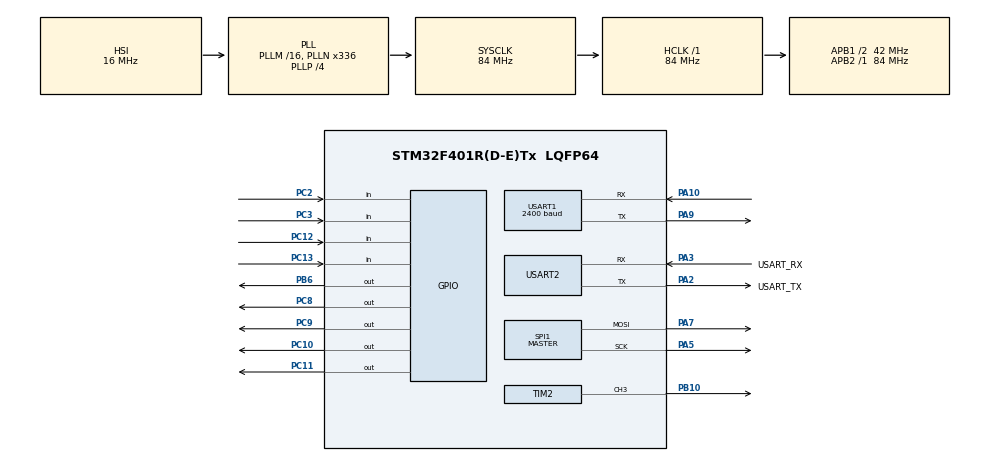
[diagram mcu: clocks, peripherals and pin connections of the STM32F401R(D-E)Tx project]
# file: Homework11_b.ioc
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Dma.Request0=SPI1_TX
Dma.SPI1_TX.0.Direction=DMA_MEMORY_TO_PERIPH
Dma.SPI1_TX.0.FIFOMode=DMA_FIFOMODE_DISABLE
Dma.SPI1_TX.0.Instance=DMA2_Stream3
Dma.SPI1_TX.0.MemDataAlignment=DMA_MDATAALIGN_BYTE
Dma.SPI1_TX.0.MemInc=DMA_MINC_ENABLE
Dma.SPI1_TX.0.Mode=DMA_NORMAL
Dma.SPI1_TX.0.PeriphDataAlignment=DMA_PDATAALIGN_BYTE
Dma.SPI1_TX.0.PeriphInc=DMA_PINC_DISABLE
Dma.SPI1_TX.0.Priority=DMA_PRIORITY_LOW
Mcu.Family=STM32F4
Mcu.Name=STM32F401R(D-E)Tx
Mcu.Package=LQFP64
NVIC.DMA2_Stream3_IRQn=true\:0\:0\:false\:false\:true\:false\:true\:true
NVIC.PriorityGroup=NVIC_PRIORITYGROUP_4
NVIC.SPI1_IRQn=true\:0\:0\:false\:false\:true\:true\:true\:true
NVIC.TIM3_IRQn=true\:0\:0\:false\:false\:true\:true\:true\:true
NVIC.TIM4_IRQn=true\:0\:0\:false\:false\:true\:true\:true\:true
NVIC.TIM5_IRQn=true\:0\:0\:false\:false\:true\:true\:true\:true
NVIC.USART1_IRQn=true\:0\:0\:false\:false\:true\:true\:true\:true
PA10.Mode=Asynchronous
PA10.Signal=USART1_RX
PA13.GPIO_Label=TMS
PA13.Mode=Trace_Asynchronous_SW
PA13.Signal=SYS_JTMS-SWDIO
PA14.GPIO_Label=TCK
PA14.Mode=Trace_Asynchronous_SW
PA14.Signal=SYS_JTCK-SWCLK
PA2.GPIO_Label=USART_TX
PA2.GPIO_Mode=GPIO_MODE_AF_PP
PA2.GPIO_PuPd=GPIO_NOPULL
PA2.GPIO_Speed=GPIO_SPEED_FREQ_LOW
PA2.Mode=Asynchronous
PA2.Signal=USART2_TX
PA3.GPIO_Label=USART_RX
PA3.GPIO_Mode=GPIO_MODE_AF_PP
PA3.GPIO_PuPd=GPIO_NOPULL
PA3.GPIO_Speed=GPIO_SPEED_FREQ_LOW
PA3.Mode=Asynchronous
PA3.Signal=USART2_RX
PA4.Signal=SPI1_NSS
PA5.Mode=TX_Only_Simplex_Unidirect_Master
PA5.Signal=SPI1_SCK
PA6.Signal=SPI1_MISO
PA7.Mode=TX_Only_Simplex_Unidirect_Master
PA7.Signal=SPI1_MOSI
PA9.Mode=Asynchronous
PA9.Signal=USART1_TX
PB10.Signal=S_TIM2_CH3
PB3.GPIO_Label=SWO
PB3.Mode=Trace_Asynchronous_SW
PB3.Signal=SYS_JTDO-SWO
PB6.Signal=GPIO_Output
PC10.Signal=GPIO_Output
PC11.Signal=GPIO_Output
PC12.Signal=GPIO_Input
PC13-ANTI_TAMP.Signal=GPIO_Input
PC14-OSC32_IN.Mode=LSE-External-Oscillator
PC14-OSC32_IN.Signal=RCC_OSC32_IN
PC15-OSC32_OUT.Mode=LSE-External-Oscillator
PC15-OSC32_OUT.Signal=RCC_OSC32_OUT
PC2.Signal=GPIO_Input
PC3.Signal=GPIO_Input
PC8.Signal=GPIO_Output
PC9.Signal=GPIO_Output
PH0\ -\ OSC_IN.Mode=HSE-External-Clock-Source
PH0\ -\ OSC_IN.Signal=RCC_OSC_IN
PH1\ -\ OSC_OUT.Mode=HSE-External-Clock-Source
PH1\ -\ OSC_OUT.Signal=RCC_OSC_OUT
ProjectManager.HeapSize=0x200
ProjectManager.StackSize=0x400
ProjectManager.TargetToolchain=STM32CubeIDE
RCC.48MHZClocksFreq_Value=48000000
RCC.AHBFreq_Value=84000000
RCC.APB1CLKDivider=RCC_HCLK_DIV2
RCC.APB1Freq_Value=42000000
RCC.APB1TimFreq_Value=84000000
RCC.APB2Freq_Value=84000000
RCC.APB2TimFreq_Value=84000000
RCC.CortexFreq_Value=84000000
RCC.HCLKFreq_Value=84000000
RCC.HSE_VALUE=8000000
RCC.HSI_VALUE=16000000
RCC.PLLN=336
RCC.PLLP=RCC_PLLP_DIV4
RCC.PLLQ=7
RCC.SYSCLKFreq_VALUE=84000000
RCC.SYSCLKSource=RCC_SYSCLKSOURCE_PLLCLK
RCC.VCOOutputFreq_Value=336000000
SH.S_TIM2_CH3.0=TIM2_CH3,PWM Generation3 CH3
SPI1.BaudRatePrescaler=SPI_BAUDRATEPRESCALER_4
SPI1.Direction=SPI_DIRECTION_2LINES
SPI1.Mode=SPI_MODE_MASTER
SPI1.VirtualType=VM_MASTER
TIM2.Channel-PWM\ Generation3\ CH3=TIM_CHANNEL_3
TIM2.Period=25
TIM2.Prescaler=83
TIM2.Pulse-PWM\ Generation3\ CH3=12
TIM3.Period=415
TIM3.Prescaler=83
TIM3.TIM_MasterOutputTrigger=TIM_TRGO_UPDATE
TIM4.Period=99
TIM4.Prescaler=839
TIM5.Period=399
TIM5.Prescaler=839
TIM5.TIM_MasterOutputTrigger=TIM_TRGO_UPDATE
USART1.BaudRate=2400
USART1.VirtualMode=VM_ASYNC
USART2.VirtualMode=VM_ASYNC
VP_TIM3_VS_ClockSourceINT.Mode=Internal
VP_TIM4_VS_ClockSourceINT.Mode=Internal
VP_TIM5_VS_ClockSourceINT.Mode=Internal
board=NUCLEO-F401RE

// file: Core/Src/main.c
/* USER CODE BEGIN Header */
/**
  ******************************************************************************
  * @file           : main.c
  * @brief          : Main program body
  ******************************************************************************
  * @attention
  *
  * Copyright (c) 2025 STMicroelectronics.
  * All rights reserved.
  *
  * This software is licensed under terms that can be found in the LICENSE file
  * in the root directory of this software component.
  * If no LICENSE file comes with this software, it is provided AS-IS.
  *
  ******************************************************************************
  */
/* USER CODE END Header */
#include "main.h"

/* USER CODE BEGIN PD */
#define TIM_PWM (&htim2)
#define TIM_BAUD (&htim3)
#define TIM_KEYBOARD (&htim4)
#define TIM_MATRIX (&htim5)

#define DEBOUNCE_TIME 2		// number of cycles a key has to be pressed for
#define ROW_COUNT 4
#define COLUMN_COUNT 4

#define RCLK_PIN GPIOB, GPIO_PIN_6
/* USER CODE END PD */

SPI_HandleTypeDef hspi1;
DMA_HandleTypeDef hdma_spi1_tx;

TIM_HandleTypeDef htim2;
TIM_HandleTypeDef htim3;
TIM_HandleTypeDef htim4;
TIM_HandleTypeDef htim5;

UART_HandleTypeDef huart1;
UART_HandleTypeDef huart2;

/* USER CODE BEGIN PV */
int bit_n;
uint8_t byte;
uint8_t buffer = 0;
uint8_t command = 0;

// KEYBOARD VARIABLES
uint16_t column_pins[] = {
		GPIO_PIN_11, // C0
		GPIO_PIN_10, // C1
		GPIO_PIN_9,  // C2
		GPIO_PIN_8,  // C3
};
uint16_t row_pins[] = {
		GPIO_PIN_3,  // R0
		GPIO_PIN_2,  // R1
		GPIO_PIN_13, // R2
		GPIO_PIN_12, // R3
};
uint8_t symbols[4][4] = {
		{'F','E','D','C'},
		{'B','A','9','8'},
		{'7','6','5','4'},
		{'3','2','1','0'},
};

struct {
	int keypress;		// number of cycles the key was pressed for
	uint8_t printed;	// if the letter was already been sent or not
} buttons[4][4] = {0};

int col_keyboard = 0;

// LED MATRIX VARIABLES
int col_matrix = 0;
uint8_t data[2];

uint8_t display_F[] = { 127, 72, 72,  72,  64  };
uint8_t display_E[] = { 127, 73, 73,  73,  65  };
uint8_t display_D[] = { 127, 65, 65,  34,  28  };
uint8_t display_C[] = { 62,  65, 65,  65,  65  };
uint8_t display_B[] = { 127, 73, 73,  73,  119 };
uint8_t display_A[] = { 63,  72, 72,  72,  63  };
uint8_t display_9[] = { 48,  73, 73,  73,  126 };
uint8_t display_8[] = { 54,  73, 73,  73,  118 };
uint8_t display_7[] = { 64,  67, 76,  80,  96  };
uint8_t display_6[] = { 62,  73, 73,  73,  70  };
uint8_t display_5[] = { 121, 73, 73,  73,  70  };
uint8_t display_4[] = { 12,  20, 36,  127, 4   };
uint8_t display_3[] = { 34,  65, 73,  73,  54  };
uint8_t display_2[] = { 33,  67, 69,  73,  49  };
uint8_t display_1[] = { 17,  33, 127, 1,   1   };
uint8_t display_0[] = { 62,  65, 65,  65,  62  };
uint8_t display_OFF[] = { 0, 0, 0, 0, 0 };

uint8_t *alphabet[] = {
  [0] = display_OFF,
  ['F'] = display_F,
  ['E'] = display_E,
  ['D'] = display_D,
  ['C'] = display_C,
  ['B'] = display_B,
  ['A'] = display_A,
  ['9'] = display_9,
  ['8'] = display_8,
  ['7'] = display_7,
  ['6'] = display_6,
  ['5'] = display_5,
  ['4'] = display_4,
  ['3'] = display_3,
  ['2'] = display_2,
  ['1'] = display_1,
  ['0'] = display_0,
};

/* USER CODE END PV */

void SystemClock_Config(void);
static void MX_GPIO_Init(void);
static void MX_DMA_Init(void);
static void MX_USART2_UART_Init(void);
static void MX_TIM2_Init(void);
static void MX_TIM3_Init(void);
static void MX_TIM4_Init(void);
static void MX_SPI1_Init(void);
static void MX_TIM5_Init(void);
static void MX_USART1_UART_Init(void);

/* USER CODE BEGIN 0 */
void HAL_UART_RxCpltCallback(UART_HandleTypeDef *huart) {
	if (huart == &huart1) {
		// start a new receiving
		HAL_UART_Receive_IT(&huart1, &buffer, sizeof(buffer));
		// filter data
		if(!((buffer <= 'F' && buffer >= 'A') || (buffer <= '9' && buffer >= '0'))) return;

		// save command and debug
		command = buffer;
		HAL_UART_Transmit(&huart2, &buffer, sizeof(buffer), 100);
	}
}

void HAL_SPI_TxCpltCallback(SPI_HandleTypeDef *hspi) {
    if (hspi == &hspi1) {
    	// send rising edge to latch data
    	HAL_GPIO_TogglePin(RCLK_PIN);
    	HAL_GPIO_TogglePin(RCLK_PIN);
    }
}

void UART_IR_sendByte(uint8_t byteToSend){
	byte = byteToSend;
	// start baud rate timer
	HAL_TIM_Base_Start_IT(TIM_BAUD);
	// send start bit
	HAL_TIM_PWM_Start(TIM_PWM, TIM_CHANNEL_3);
	bit_n = 0;
}

void HAL_TIM_PeriodElapsedCallback(TIM_HandleTypeDef *htim){
	// when the baud rate timer elapses
	if(htim == TIM_BAUD){
		if(bit_n > 8){
			// if I sent all the bits, stop the baud rate timer
			HAL_TIM_Base_Stop_IT(TIM_BAUD);
			return;
		}

		if(bit_n == 8){
			// if it is the last bit, send a stop bit
			HAL_TIM_PWM_Stop(TIM_PWM, TIM_CHANNEL_3);
		} else if((byte >> bit_n) & 0x1){
			// if the current bit is a 1, turn off the LED
			HAL_TIM_PWM_Stop(TIM_PWM, TIM_CHANNEL_3);
		} else {
			// if the current bit is a 0, turn on the LED
			HAL_TIM_PWM_Start(TIM_PWM, TIM_CHANNEL_3);
		}
		bit_n++;
	}

	if(htim == TIM_KEYBOARD){
		// read rows
		for(int row=0; row<ROW_COUNT; row++) {
			if(HAL_GPIO_ReadPin(GPIOC, row_pins[row]) == GPIO_PIN_RESET) {
				buttons[row][col_keyboard].keypress++; 	// button pressed for one cycle
			} else {
				buttons[row][col_keyboard].keypress = 0; // reset counter
			}
		}
		// disable current column
		HAL_GPIO_WritePin(GPIOC, column_pins[col_keyboard], GPIO_PIN_RESET);
		col_keyboard = (col_keyboard+1) % COLUMN_COUNT;
		// enable next column so that it has time to reach the correct level
		// and successfully read the buttons in the next timer callback
		HAL_GPIO_WritePin(GPIOC, column_pins[col_keyboard], GPIO_PIN_SET);
	}

	if(htim == TIM_MATRIX){
		// send {row, column} data
		data[0] = alphabet[command][col_matrix];
		data[1] = 1 << (4 - col_matrix);
		HAL_SPI_Transmit_DMA(&hspi1, data, sizeof(data));
		col_matrix = (col_matrix+1) % 5;
	}

}

/* USER CODE END 0 */

int main(void)
{

  /* MCU Configuration--------------------------------------------------------*/

  /* Reset of all peripherals, Initializes the Flash interface and the Systick. */
  HAL_Init();

  /* Configure the system clock */
  SystemClock_Config();

  /* Initialize all configured peripherals */
  MX_GPIO_Init();
  MX_DMA_Init();
  MX_USART2_UART_Init();
  MX_TIM2_Init();
  MX_TIM3_Init();
  MX_TIM4_Init();
  MX_SPI1_Init();
  MX_TIM5_Init();
  MX_USART1_UART_Init();
  /* USER CODE BEGIN 2 */
  // start timers
  HAL_TIM_Base_Start_IT(TIM_KEYBOARD);
  HAL_TIM_Base_Start_IT(TIM_MATRIX);
  // receive from IR UART
  HAL_UART_Receive_IT(&huart1, &buffer, sizeof(buffer));

  HAL_GPIO_WritePin(RCLK_PIN, GPIO_PIN_RESET);
  /* USER CODE END 2 */

  /* Infinite loop */
  while (1)
  {

    /* USER CODE BEGIN 3 */
	  	// for each key, check...
		for(int i=0; i<ROW_COUNT; i++){
			for(int j=0; j<COLUMN_COUNT; j++){
				// if was pressed long enough
				if(buttons[i][j].keypress > DEBOUNCE_TIME){
					// if it was not printed before
					if(!buttons[i][j].printed){
						buttons[i][j].printed = 1;
						// send data
						UART_IR_sendByte(symbols[i][j]);
					}
				} else {
					// if was released -> reset flag
					buttons[i][j].printed = 0;
				}
			}
		}

  }
  /* USER CODE END 3 */
}

void SystemClock_Config(void)
{
  RCC_OscInitTypeDef RCC_OscInitStruct = {0};
  RCC_ClkInitTypeDef RCC_ClkInitStruct = {0};

  /** Configure the main internal regulator output voltage
  */
  __HAL_RCC_PWR_CLK_ENABLE();
  __HAL_PWR_VOLTAGESCALING_CONFIG(PWR_REGULATOR_VOLTAGE_SCALE2);

  /** Initializes the RCC Oscillators according to the specified parameters
  * in the RCC_OscInitTypeDef structure.
  */
  RCC_OscInitStruct.OscillatorType = RCC_OSCILLATORTYPE_HSI;
  RCC_OscInitStruct.HSIState = RCC_HSI_ON;
  RCC_OscInitStruct.HSICalibrationValue = RCC_HSICALIBRATION_DEFAULT;
  RCC_OscInitStruct.PLL.PLLState = RCC_PLL_ON;
  RCC_OscInitStruct.PLL.PLLSource = RCC_PLLSOURCE_HSI;
  RCC_OscInitStruct.PLL.PLLM = 16;
  RCC_OscInitStruct.PLL.PLLN = 336;
  RCC_OscInitStruct.PLL.PLLP = RCC_PLLP_DIV4;
  RCC_OscInitStruct.PLL.PLLQ = 7;
  if (HAL_RCC_OscConfig(&RCC_OscInitStruct) != HAL_OK)
  {
    Error_Handler();
  }

  /** Initializes the CPU, AHB and APB buses clocks
  */
  RCC_ClkInitStruct.ClockType = RCC_CLOCKTYPE_HCLK|RCC_CLOCKTYPE_SYSCLK
                              |RCC_CLOCKTYPE_PCLK1|RCC_CLOCKTYPE_PCLK2;
  RCC_ClkInitStruct.SYSCLKSource = RCC_SYSCLKSOURCE_PLLCLK;
  RCC_ClkInitStruct.AHBCLKDivider = RCC_SYSCLK_DIV1;
  RCC_ClkInitStruct.APB1CLKDivider = RCC_HCLK_DIV2;
  RCC_ClkInitStruct.APB2CLKDivider = RCC_HCLK_DIV1;

  if (HAL_RCC_ClockConfig(&RCC_ClkInitStruct, FLASH_LATENCY_2) != HAL_OK)
  {
    Error_Handler();
  }
}

static void MX_SPI1_Init(void)
{

  /* SPI1 parameter configuration*/
  hspi1.Instance = SPI1;
  hspi1.Init.Mode = SPI_MODE_MASTER;
  hspi1.Init.Direction = SPI_DIRECTION_2LINES;
  hspi1.Init.DataSize = SPI_DATASIZE_8BIT;
  hspi1.Init.CLKPolarity = SPI_POLARITY_LOW;
  hspi1.Init.CLKPhase = SPI_PHASE_1EDGE;
  hspi1.Init.NSS = SPI_NSS_SOFT;
  hspi1.Init.BaudRatePrescaler = SPI_BAUDRATEPRESCALER_4;
  hspi1.Init.FirstBit = SPI_FIRSTBIT_MSB;
  hspi1.Init.TIMode = SPI_TIMODE_DISABLE;
  hspi1.Init.CRCCalculation = SPI_CRCCALCULATION_DISABLE;
  hspi1.Init.CRCPolynomial = 10;
  if (HAL_SPI_Init(&hspi1) != HAL_OK)
  {
    Error_Handler();
  }

}

static void MX_TIM2_Init(void)
{

  TIM_MasterConfigTypeDef sMasterConfig = {0};
  TIM_OC_InitTypeDef sConfigOC = {0};

  htim2.Instance = TIM2;
  htim2.Init.Prescaler = 83;
  htim2.Init.CounterMode = TIM_COUNTERMODE_UP;
  htim2.Init.Period = 25;
  htim2.Init.ClockDivision = TIM_CLOCKDIVISION_DIV1;
  htim2.Init.AutoReloadPreload = TIM_AUTORELOAD_PRELOAD_DISABLE;
  if (HAL_TIM_PWM_Init(&htim2) != HAL_OK)
  {
    Error_Handler();
  }
  sMasterConfig.MasterOutputTrigger = TIM_TRGO_RESET;
  sMasterConfig.MasterSlaveMode = TIM_MASTERSLAVEMODE_DISABLE;
  if (HAL_TIMEx_MasterConfigSynchronization(&htim2, &sMasterConfig) != HAL_OK)
  {
    Error_Handler();
  }
  sConfigOC.OCMode = TIM_OCMODE_PWM1;
  sConfigOC.Pulse = 12;
  sConfigOC.OCPolarity = TIM_OCPOLARITY_HIGH;
  sConfigOC.OCFastMode = TIM_OCFAST_DISABLE;
  if (HAL_TIM_PWM_ConfigChannel(&htim2, &sConfigOC, TIM_CHANNEL_3) != HAL_OK)
  {
    Error_Handler();
  }
  HAL_TIM_MspPostInit(&htim2);

}

static void MX_TIM3_Init(void)
{

  TIM_ClockConfigTypeDef sClockSourceConfig = {0};
  TIM_MasterConfigTypeDef sMasterConfig = {0};

  htim3.Instance = TIM3;
  htim3.Init.Prescaler = 83;
  htim3.Init.CounterMode = TIM_COUNTERMODE_UP;
  htim3.Init.Period = 415;
  htim3.Init.ClockDivision = TIM_CLOCKDIVISION_DIV1;
  htim3.Init.AutoReloadPreload = TIM_AUTORELOAD_PRELOAD_DISABLE;
  if (HAL_TIM_Base_Init(&htim3) != HAL_OK)
  {
    Error_Handler();
  }
  sClockSourceConfig.ClockSource = TIM_CLOCKSOURCE_INTERNAL;
  if (HAL_TIM_ConfigClockSource(&htim3, &sClockSourceConfig) != HAL_OK)
  {
    Error_Handler();
  }
  sMasterConfig.MasterOutputTrigger = TIM_TRGO_UPDATE;
  sMasterConfig.MasterSlaveMode = TIM_MASTERSLAVEMODE_DISABLE;
  if (HAL_TIMEx_MasterConfigSynchronization(&htim3, &sMasterConfig) != HAL_OK)
  {
    Error_Handler();
  }

}

static void MX_TIM4_Init(void)
{

  TIM_ClockConfigTypeDef sClockSourceConfig = {0};
  TIM_MasterConfigTypeDef sMasterConfig = {0};

  htim4.Instance = TIM4;
  htim4.Init.Prescaler = 839;
  htim4.Init.CounterMode = TIM_COUNTERMODE_UP;
  htim4.Init.Period = 99;
  htim4.Init.ClockDivision = TIM_CLOCKDIVISION_DIV1;
  htim4.Init.AutoReloadPreload = TIM_AUTORELOAD_PRELOAD_DISABLE;
  if (HAL_TIM_Base_Init(&htim4) != HAL_OK)
  {
    Error_Handler();
  }
  sClockSourceConfig.ClockSource = TIM_CLOCKSOURCE_INTERNAL;
  if (HAL_TIM_ConfigClockSource(&htim4, &sClockSourceConfig) != HAL_OK)
  {
    Error_Handler();
  }
  sMasterConfig.MasterOutputTrigger = TIM_TRGO_RESET;
  sMasterConfig.MasterSlaveMode = TIM_MASTERSLAVEMODE_DISABLE;
  if (HAL_TIMEx_MasterConfigSynchronization(&htim4, &sMasterConfig) != HAL_OK)
  {
    Error_Handler();
  }

}

static void MX_TIM5_Init(void)
{

  TIM_ClockConfigTypeDef sClockSourceConfig = {0};
  TIM_MasterConfigTypeDef sMasterConfig = {0};

  htim5.Instance = TIM5;
  htim5.Init.Prescaler = 839;
  htim5.Init.CounterMode = TIM_COUNTERMODE_UP;
  htim5.Init.Period = 399;
  htim5.Init.ClockDivision = TIM_CLOCKDIVISION_DIV1;
  htim5.Init.AutoReloadPreload = TIM_AUTORELOAD_PRELOAD_DISABLE;
  if (HAL_TIM_Base_Init(&htim5) != HAL_OK)
  {
    Error_Handler();
  }
  sClockSourceConfig.ClockSource = TIM_CLOCKSOURCE_INTERNAL;
  if (HAL_TIM_ConfigClockSource(&htim5, &sClockSourceConfig) != HAL_OK)
  {
    Error_Handler();
  }
  sMasterConfig.MasterOutputTrigger = TIM_TRGO_UPDATE;
  sMasterConfig.MasterSlaveMode = TIM_MASTERSLAVEMODE_DISABLE;
  if (HAL_TIMEx_MasterConfigSynchronization(&htim5, &sMasterConfig) != HAL_OK)
  {
    Error_Handler();
  }

}

static void MX_USART1_UART_Init(void)
{

  huart1.Instance = USART1;
  huart1.Init.BaudRate = 2400;
  huart1.Init.WordLength = UART_WORDLENGTH_8B;
  huart1.Init.StopBits = UART_STOPBITS_1;
  huart1.Init.Parity = UART_PARITY_NONE;
  huart1.Init.Mode = UART_MODE_TX_RX;
  huart1.Init.HwFlowCtl = UART_HWCONTROL_NONE;
  huart1.Init.OverSampling = UART_OVERSAMPLING_16;
  if (HAL_UART_Init(&huart1) != HAL_OK)
  {
    Error_Handler();
  }

}

static void MX_USART2_UART_Init(void)
{

  huart2.Instance = USART2;
  huart2.Init.BaudRate = 115200;
  huart2.Init.WordLength = UART_WORDLENGTH_8B;
  huart2.Init.StopBits = UART_STOPBITS_1;
  huart2.Init.Parity = UART_PARITY_NONE;
  huart2.Init.Mode = UART_MODE_TX_RX;
  huart2.Init.HwFlowCtl = UART_HWCONTROL_NONE;
  huart2.Init.OverSampling = UART_OVERSAMPLING_16;
  if (HAL_UART_Init(&huart2) != HAL_OK)
  {
    Error_Handler();
  }

}

static void MX_DMA_Init(void)
{

  /* DMA controller clock enable */
  __HAL_RCC_DMA2_CLK_ENABLE();

  /* DMA interrupt init */
  /* DMA2_Stream3_IRQn interrupt configuration */
  HAL_NVIC_SetPriority(DMA2_Stream3_IRQn, 0, 0);
  HAL_NVIC_EnableIRQ(DMA2_Stream3_IRQn);

}

static void MX_GPIO_Init(void)
{
  GPIO_InitTypeDef GPIO_InitStruct = {0};

  /* GPIO Ports Clock Enable */
  __HAL_RCC_GPIOC_CLK_ENABLE();
  __HAL_RCC_GPIOH_CLK_ENABLE();
  __HAL_RCC_GPIOA_CLK_ENABLE();
  __HAL_RCC_GPIOB_CLK_ENABLE();

  /*Configure GPIO pin Output Level */
  HAL_GPIO_WritePin(GPIOC, GPIO_PIN_8|GPIO_PIN_9|GPIO_PIN_10|GPIO_PIN_11, GPIO_PIN_RESET);

  /*Configure GPIO pin Output Level */
  HAL_GPIO_WritePin(GPIOB, GPIO_PIN_6, GPIO_PIN_RESET);

  /*Configure GPIO pins : PC13 PC2 PC3 PC12 */
  GPIO_InitStruct.Pin = GPIO_PIN_13|GPIO_PIN_2|GPIO_PIN_3|GPIO_PIN_12;
  GPIO_InitStruct.Mode = GPIO_MODE_INPUT;
  GPIO_InitStruct.Pull = GPIO_NOPULL;
  HAL_GPIO_Init(GPIOC, &GPIO_InitStruct);

  /*Configure GPIO pins : PC8 PC9 PC10 PC11 */
  GPIO_InitStruct.Pin = GPIO_PIN_8|GPIO_PIN_9|GPIO_PIN_10|GPIO_PIN_11;
  GPIO_InitStruct.Mode = GPIO_MODE_OUTPUT_PP;
  GPIO_InitStruct.Pull = GPIO_NOPULL;
  GPIO_InitStruct.Speed = GPIO_SPEED_FREQ_LOW;
  HAL_GPIO_Init(GPIOC, &GPIO_InitStruct);

  /*Configure GPIO pin : PB6 */
  GPIO_InitStruct.Pin = GPIO_PIN_6;
  GPIO_InitStruct.Mode = GPIO_MODE_OUTPUT_PP;
  GPIO_InitStruct.Pull = GPIO_NOPULL;
  GPIO_InitStruct.Speed = GPIO_SPEED_FREQ_LOW;
  HAL_GPIO_Init(GPIOB, &GPIO_InitStruct);

}

void Error_Handler(void)
{
  __disable_irq();
  while (1)
  {
  }
}
